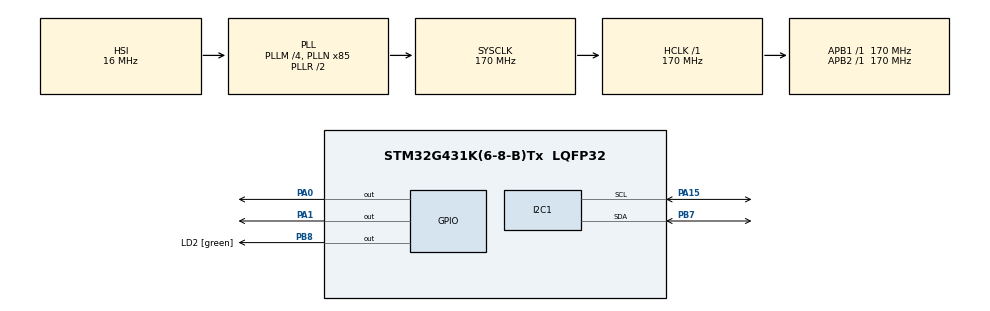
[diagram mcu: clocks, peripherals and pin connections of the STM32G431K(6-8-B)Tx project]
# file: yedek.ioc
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FREERTOS.Tasks01=myTask01,24,128,StartTask01,Default,NULL,Dynamic,NULL,NULL;myTask02,24,128,StartTask02,Default,NULL,Dynamic,NULL,NULL
I2C1.Timing=0x30A0A7FB
Mcu.Family=STM32G4
Mcu.Name=STM32G431K(6-8-B)Tx
Mcu.Package=LQFP32
NVIC.PriorityGroup=NVIC_PRIORITYGROUP_4
NVIC.TIM2_IRQn=true\:0\:0\:false\:false\:true\:false\:false\:true
NVIC.TimeBase=TIM2_IRQn
NVIC.TimeBaseIP=TIM2
PA0.Signal=GPIO_Output
PA1.Signal=GPIO_Output
PA13.GPIO_Label=T_SWDIO
PA13.Mode=Serial_Wire
PA13.Signal=SYS_JTMS-SWDIO
PA14.GPIO_Label=T_SWCLK
PA14.Mode=Serial_Wire
PA14.Signal=SYS_JTCK-SWCLK
PA15.Mode=I2C
PA15.Signal=I2C1_SCL
PB3.GPIO_Label=T_SWO
PB3.Signal=SYS_JTDO-SWO
PB7.Mode=I2C
PB7.Signal=I2C1_SDA
PB8-BOOT0.GPIO_Label=LD2 [green]
PB8-BOOT0.Signal=GPIO_Output
ProjectManager.HeapSize=0x200
ProjectManager.StackSize=0x400
ProjectManager.TargetToolchain=STM32CubeIDE
RCC.ADC12Freq_Value=170000000
RCC.AHBFreq_Value=170000000
RCC.APB1Freq_Value=170000000
RCC.APB1TimFreq_Value=170000000
RCC.APB2Freq_Value=170000000
RCC.APB2TimFreq_Value=170000000
RCC.CortexFreq_Value=170000000
RCC.EXTERNAL_CLOCK_VALUE=12288000
RCC.HCLKFreq_Value=170000000
RCC.HSE_VALUE=8000000
RCC.HSI48_VALUE=48000000
RCC.HSI_VALUE=16000000
RCC.LSE_VALUE=32768
RCC.PLLM=RCC_PLLM_DIV4
RCC.PLLN=85
RCC.SYSCLKFreq_VALUE=170000000
RCC.SYSCLKSource=RCC_SYSCLKSOURCE_PLLCLK
RCC.USBFreq_Value=170000000
RCC.VCOOutputFreq_Value=340000000
VP_FREERTOS_VS_CMSIS_V2.Mode=CMSIS_V2
VP_SYS_VS_DBSignals.Mode=DisableDeadBatterySignals
VP_SYS_VS_tim2.Mode=TIM2
board=NUCLEO-G431KB

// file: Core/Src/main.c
/* USER CODE BEGIN Header */
/**
  ******************************************************************************
  * @file           : main.c
  * @brief          : Main program body
  ******************************************************************************
  * @attention
  *
  * <h2><center>&copy; Copyright (c) 2020 STMicroelectronics.
  * All rights reserved.</center></h2>
  *
  * This software component is licensed by ST under BSD 3-Clause license,
  * the "License"; You may not use this file except in compliance with the
  * License. You may obtain a copy of the License at:
  *                        opensource.org/licenses/BSD-3-Clause
  *
  ******************************************************************************
  */
/* USER CODE END Header */
#include "main.h"
#include "cmsis_os.h"

/* USER CODE BEGIN Includes */
#include "BMP280.h"
#include "Gorev.h"
/* USER CODE END Includes */

I2C_HandleTypeDef hi2c1;

/* Definitions for myTask01 */
osThreadId_t myTask01Handle;
const osThreadAttr_t myTask01_attributes = {
  .name = "myTask01",
  .priority = (osPriority_t) osPriorityNormal,
  .stack_size = 128 * 4
};
/* Definitions for myTask02 */
osThreadId_t myTask02Handle;
const osThreadAttr_t myTask02_attributes = {
  .name = "myTask02",
  .priority = (osPriority_t) osPriorityNormal,
  .stack_size = 128 * 4
};
/* USER CODE BEGIN PV */
sBMP280_handle_t hBMP280;
_Bool gorev1_check = 0;
/* USER CODE END PV */

void SystemClock_Config(void);
static void MX_GPIO_Init(void);
static void MX_I2C1_Init(void);
void StartTask01(void *argument);
void StartTask02(void *argument);

int main(void)
{

  /* MCU Configuration--------------------------------------------------------*/

  /* Reset of all peripherals, Initializes the Flash interface and the Systick. */
  HAL_Init();

  /* Configure the system clock */
  SystemClock_Config();

  /* Initialize all configured peripherals */
  MX_GPIO_Init();
  MX_I2C1_Init();
  /* USER CODE BEGIN 2 */
BMP280_init(&hBMP280);
  /* USER CODE END 2 */

  /* Init scheduler */
  osKernelInitialize();

  /* Create the thread(s) */
  /* creation of myTask01 */
  myTask01Handle = osThreadNew(StartTask01, NULL, &myTask01_attributes);

  /* creation of myTask02 */
  myTask02Handle = osThreadNew(StartTask02, NULL, &myTask02_attributes);

  /* Start scheduler */
  osKernelStart();

  /* We should never get here as control is now taken by the scheduler */
  /* Infinite loop */
  while (1)
  {

  }
}

void SystemClock_Config(void)
{
  RCC_OscInitTypeDef RCC_OscInitStruct = {0};
  RCC_ClkInitTypeDef RCC_ClkInitStruct = {0};
  RCC_PeriphCLKInitTypeDef PeriphClkInit = {0};

  /** Configure the main internal regulator output voltage
  */
  HAL_PWREx_ControlVoltageScaling(PWR_REGULATOR_VOLTAGE_SCALE1_BOOST);
  /** Initializes the RCC Oscillators according to the specified parameters
  * in the RCC_OscInitTypeDef structure.
  */
  RCC_OscInitStruct.OscillatorType = RCC_OSCILLATORTYPE_HSI;
  RCC_OscInitStruct.HSIState = RCC_HSI_ON;
  RCC_OscInitStruct.HSICalibrationValue = RCC_HSICALIBRATION_DEFAULT;
  RCC_OscInitStruct.PLL.PLLState = RCC_PLL_ON;
  RCC_OscInitStruct.PLL.PLLSource = RCC_PLLSOURCE_HSI;
  RCC_OscInitStruct.PLL.PLLM = RCC_PLLM_DIV4;
  RCC_OscInitStruct.PLL.PLLN = 85;
  RCC_OscInitStruct.PLL.PLLP = RCC_PLLP_DIV2;
  RCC_OscInitStruct.PLL.PLLQ = RCC_PLLQ_DIV2;
  RCC_OscInitStruct.PLL.PLLR = RCC_PLLR_DIV2;
  if (HAL_RCC_OscConfig(&RCC_OscInitStruct) != HAL_OK)
  {
    Error_Handler();
  }
  /** Initializes the CPU, AHB and APB buses clocks
  */
  RCC_ClkInitStruct.ClockType = RCC_CLOCKTYPE_HCLK|RCC_CLOCKTYPE_SYSCLK
                              |RCC_CLOCKTYPE_PCLK1|RCC_CLOCKTYPE_PCLK2;
  RCC_ClkInitStruct.SYSCLKSource = RCC_SYSCLKSOURCE_PLLCLK;
  RCC_ClkInitStruct.AHBCLKDivider = RCC_SYSCLK_DIV1;
  RCC_ClkInitStruct.APB1CLKDivider = RCC_HCLK_DIV1;
  RCC_ClkInitStruct.APB2CLKDivider = RCC_HCLK_DIV1;

  if (HAL_RCC_ClockConfig(&RCC_ClkInitStruct, FLASH_LATENCY_4) != HAL_OK)
  {
    Error_Handler();
  }
  /** Initializes the peripherals clocks
  */
  PeriphClkInit.PeriphClockSelection = RCC_PERIPHCLK_I2C1;
  PeriphClkInit.I2c1ClockSelection = RCC_I2C1CLKSOURCE_PCLK1;
  if (HAL_RCCEx_PeriphCLKConfig(&PeriphClkInit) != HAL_OK)
  {
    Error_Handler();
  }
}

static void MX_I2C1_Init(void)
{

  hi2c1.Instance = I2C1;
  hi2c1.Init.Timing = 0x30A0A7FB;
  hi2c1.Init.OwnAddress1 = 0;
  hi2c1.Init.AddressingMode = I2C_ADDRESSINGMODE_7BIT;
  hi2c1.Init.DualAddressMode = I2C_DUALADDRESS_DISABLE;
  hi2c1.Init.OwnAddress2 = 0;
  hi2c1.Init.OwnAddress2Masks = I2C_OA2_NOMASK;
  hi2c1.Init.GeneralCallMode = I2C_GENERALCALL_DISABLE;
  hi2c1.Init.NoStretchMode = I2C_NOSTRETCH_DISABLE;
  if (HAL_I2C_Init(&hi2c1) != HAL_OK)
  {
    Error_Handler();
  }
  /** Configure Analogue filter
  */
  if (HAL_I2CEx_ConfigAnalogFilter(&hi2c1, I2C_ANALOGFILTER_ENABLE) != HAL_OK)
  {
    Error_Handler();
  }
  /** Configure Digital filter
  */
  if (HAL_I2CEx_ConfigDigitalFilter(&hi2c1, 0) != HAL_OK)
  {
    Error_Handler();
  }

}

static void MX_GPIO_Init(void)
{
  GPIO_InitTypeDef GPIO_InitStruct = {0};

  /* GPIO Ports Clock Enable */
  __HAL_RCC_GPIOA_CLK_ENABLE();
  __HAL_RCC_GPIOB_CLK_ENABLE();

  /*Configure GPIO pin Output Level */
  HAL_GPIO_WritePin(GPIOA, GPIO_PIN_0|GPIO_PIN_1, GPIO_PIN_RESET);

  /*Configure GPIO pin Output Level */
  HAL_GPIO_WritePin(LD2_GPIO_Port, LD2_Pin, GPIO_PIN_RESET);

  /*Configure GPIO pins : PA0 PA1 */
  GPIO_InitStruct.Pin = GPIO_PIN_0|GPIO_PIN_1;
  GPIO_InitStruct.Mode = GPIO_MODE_OUTPUT_PP;
  GPIO_InitStruct.Pull = GPIO_NOPULL;
  GPIO_InitStruct.Speed = GPIO_SPEED_FREQ_LOW;
  HAL_GPIO_Init(GPIOA, &GPIO_InitStruct);

  /*Configure GPIO pin : LD2_Pin */
  GPIO_InitStruct.Pin = LD2_Pin;
  GPIO_InitStruct.Mode = GPIO_MODE_OUTPUT_PP;
  GPIO_InitStruct.Pull = GPIO_NOPULL;
  GPIO_InitStruct.Speed = GPIO_SPEED_FREQ_LOW;
  HAL_GPIO_Init(LD2_GPIO_Port, &GPIO_InitStruct);

}

void StartTask01(void *argument)
{
  /* USER CODE BEGIN 5 */
  /* Infinite loop */
  for(;;)
  {
	  BMP280_calc_alt(&hBMP280);
	  osDelay(100);
  }
  /* USER CODE END 5 */
}

void StartTask02(void *argument)
{
  /* USER CODE BEGIN StartTask02 */
  /* Infinite loop */
  for(;;)
  {
	  if(hBMP280.Altitude > 1500){
		if(Gorev1(&hBMP280)){
			gorev1_check = 1;
			HAL_GPIO_WritePin(GPIOA, GPIO_PIN_1, 1);
			HAL_GPIO_WritePin(LD2_GPIO_Port, LD2_Pin, 1);
		}
	  }
		if(Gorev2(&hBMP280, gorev1_check)){
			HAL_GPIO_WritePin(GPIOA, GPIO_PIN_0, 1);
			HAL_GPIO_WritePin(LD2_GPIO_Port, LD2_Pin, 1);
		}
		osDelay(100);

  }
  /* USER CODE END StartTask02 */
}

void HAL_TIM_PeriodElapsedCallback(TIM_HandleTypeDef *htim)
{
  if (htim->Instance == TIM2) {
    HAL_IncTick();
  }
}

void Error_Handler(void)
{
}

/************************ (C) COPYRIGHT STMicroelectronics *****END OF FILE****/
